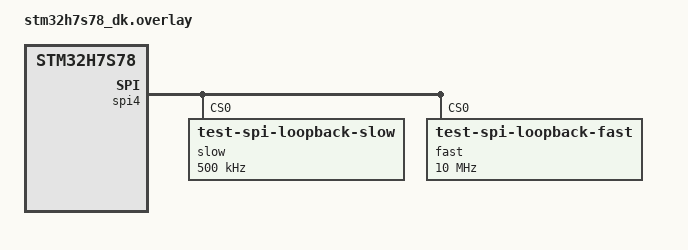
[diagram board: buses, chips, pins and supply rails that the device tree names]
/*
 * Copyright (c) 2024 STMicroelectronics
 *
 * SPDX-License-Identifier: Apache-2.0
 */

&spi4 {
	/* spi4 MOSI on D11 spi4 MISO on D12 */
	slow@0 {
		compatible = "test-spi-loopback-slow";
		reg = <0>;
		spi-max-frequency = <500000>;
	};
	fast@0 {
		compatible = "test-spi-loopback-fast";
		reg = <0>;
		spi-max-frequency = <10000000>;
	};
};
